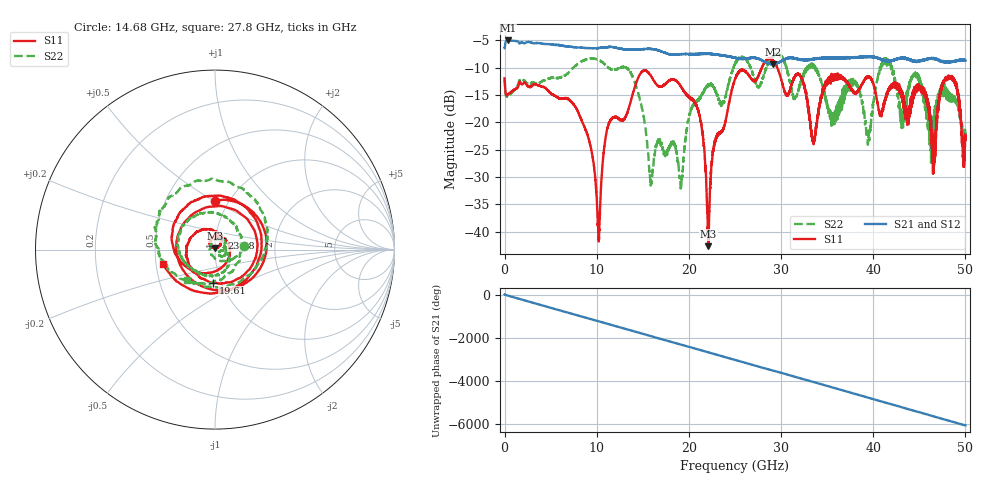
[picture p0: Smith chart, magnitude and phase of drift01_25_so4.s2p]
!Created with skrf (http://scikit-rf.org).
# Hz S RI R 50.0
!freq ReS11 ImS11 ReS21 ImS21 ReS12 ImS12 ReS22 ImS22
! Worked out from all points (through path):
!   10001 points, 300 kHz to 50 GHz, reference 50 ohm
!   highest |S21| = -5.05 dB at 360.3 MHz (marker M1); lowest = -9.4 dB at 29.12 GHz (marker M2)
!   group delay of S21, straight-line fit = 336 ps
!   lowest |S11| = -42.6 dB at 22.09 GHz (marker M3), VSWR 1.01, Z = 49.9 + j0.723 ohm
!   |S11| at or under -10 dB: start of sweep to 27.92 GHz; 29.59 GHz to end of sweep
!   |S22| runs from -32.1 to -7.5 dB; largest |S21 - S12| = 0.012
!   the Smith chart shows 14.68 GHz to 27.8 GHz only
!   S11 on the Smith chart (normalised r, x): 14.68 GHz: 0.86, +0.51; 19.61 GHz: 0.92, -0.35; 23.18 GHz: 1.07, +0.14; 27.8 GHz: 0.55, -0.10
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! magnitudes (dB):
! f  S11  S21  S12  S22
! 300 kHz  -12.0  -6.4  -6.5  -11.8
! 360.3 MHz  -14.9  -5.1  -5.1  -15.2
! 8.335 GHz  -19.6  -6.4  -6.4  -8.9
! 10.2 GHz  -41.1  -6.4  -6.4  -8.6
! 11.24 GHz  -20.6  -6.2  -6.2  -10.0
! 14.68 GHz  -11.3  -6.7  -6.7  -15.8
! 15.87 GHz  -11.5  -6.6  -6.6  -31.2
! 16.67 GHz  -13.4  -6.9  -6.9  -23.2
! 19.61 GHz  -14.7  -7.5  -7.5  -23.4
! 21.22 GHz  -19.4  -7.5  -7.5  -15.6
! 22.09 GHz  -42.6  -7.5  -7.5  -13.4
! 23.18 GHz  -22.2  -7.7  -7.7  -15.7
! 25 GHz  -12.1  -8.2  -8.3  -9.4
! 27.8 GHz  -10.5  -8.6  -8.6  -12.8
! 29.12 GHz  -8.7  -9.4  -9.4  -7.9
! 33.34 GHz  -22.5  -8.5  -8.5  -9.6
! 39.47 GHz  -11.7  -8.0  -8.0  -22.3
! 41.67 GHz  -13.9  -8.8  -8.8  -9.0
! 45.36 GHz  -13.7  -8.7  -8.6  -14.3
! 46.56 GHz  -26.4  -8.3  -8.4  -20.1
! 48.53 GHz  -12.1  -8.9  -8.9  -15.4
! 50 GHz  -22.6  -8.7  -8.7  -23.1
